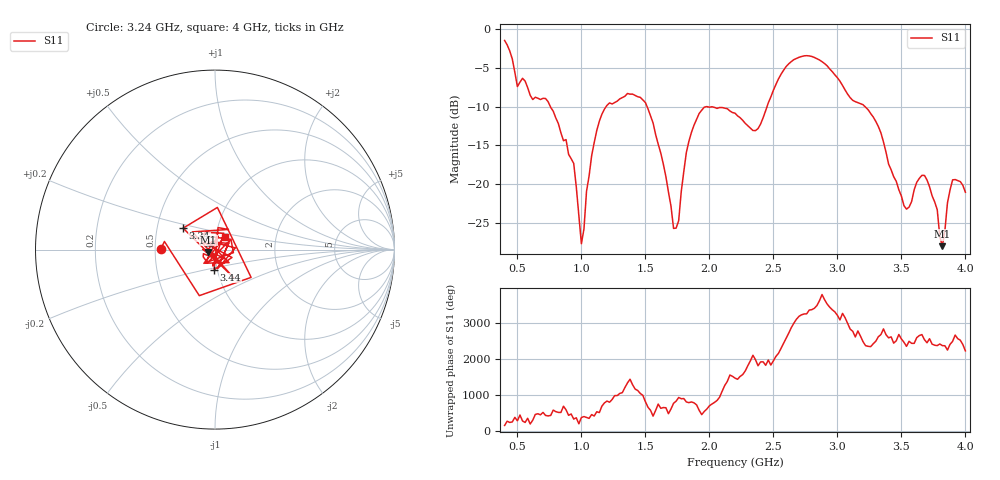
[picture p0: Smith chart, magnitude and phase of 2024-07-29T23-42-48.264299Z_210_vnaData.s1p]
!Created with skrf (http://scikit-rf.org).
# Hz S RI R 50.0
!freq ReS11 ImS11
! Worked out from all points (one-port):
!   181 points, 400 MHz to 4 GHz, reference 50 ohm
!   lowest |S11| = -28.0 dB at 3.82 GHz (marker M1), VSWR 1.08, Z = 46.4 - j1.22 ohm
!   |S11| at or under -10 dB: 1.513 GHz to 1.979 GHz (466.2 MHz wide, 26.7 % of centre); 1.981 GHz to 2.45 GHz (469.6 MHz wide, 21.2 % of centre); 3.216 GHz to end of sweep (the widest 3 of 4)
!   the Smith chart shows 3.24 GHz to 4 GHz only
!   S11 on the Smith chart (normalised r, x): 3.24 GHz: 0.54, +0.00; 3.34 GHz: 0.68, +0.17; 3.44 GHz: 0.97, -0.22; 4 GHz: 1.10, +0.16
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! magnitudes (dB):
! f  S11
! 400 MHz  -1.5
! 500 MHz  -7.4
! 720 MHz  -9.0
! 860 MHz  -14.4
! 940 MHz  -17.3
! 1 GHz  -27.7
! 1.12 GHz  -13.1
! 1.3 GHz  -9.0
! 1.5 GHz  -9.5
! 1.64 GHz  -17.4
! 1.72 GHz  -25.7
! 1.76 GHz  -24.7
! 1.82 GHz  -15.9
! 1.92 GHz  -10.9
! 2.2 GHz  -10.8
! 2.38 GHz  -12.8
! 2.66 GHz  -3.9
! 2.86 GHz  -4.0
! 3.1 GHz  -8.9
! 3.24 GHz  -10.4
! 3.34 GHz  -13.4
! 3.44 GHz  -19.0
! 3.56 GHz  -22.9
! 3.68 GHz  -18.9
! 3.78 GHz  -23.3
! 3.82 GHz  -28.0
! 3.9 GHz  -19.4
! 4 GHz  -21.0
